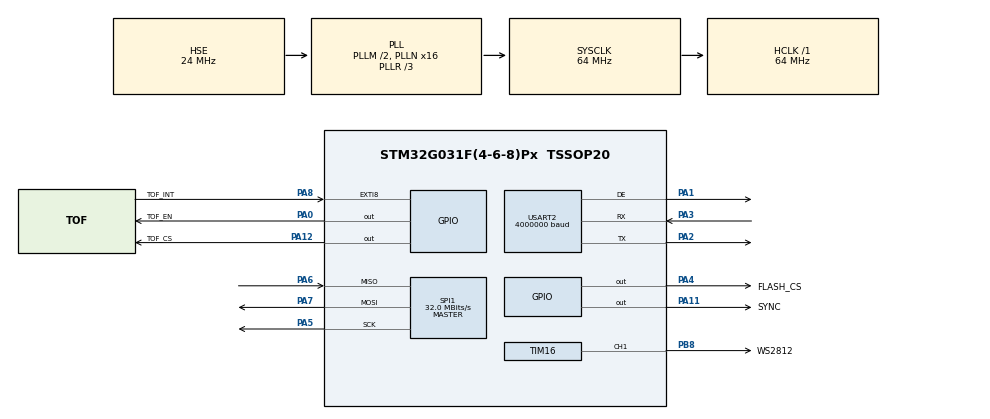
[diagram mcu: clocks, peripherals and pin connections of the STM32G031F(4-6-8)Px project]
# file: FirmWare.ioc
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CRC.CRCLength=CRC_POLYLENGTH_16B
CRC.DefaultInitValueUse=DEFAULT_INIT_VALUE_DISABLE
CRC.DefaultPolynomialUse=DEFAULT_POLYNOMIAL_DISABLE
CRC.GeneratingPolynomial=X12+X5+X0
Dma.Request0=USART2_RX
Dma.Request1=USART2_TX
Dma.Request2=TIM16_CH1
Dma.TIM16_CH1.2.Direction=DMA_MEMORY_TO_PERIPH
Dma.TIM16_CH1.2.EventEnable=DISABLE
Dma.TIM16_CH1.2.Instance=DMA1_Channel4
Dma.TIM16_CH1.2.MemDataAlignment=DMA_MDATAALIGN_HALFWORD
Dma.TIM16_CH1.2.MemInc=DMA_MINC_ENABLE
Dma.TIM16_CH1.2.Mode=DMA_NORMAL
Dma.TIM16_CH1.2.PeriphDataAlignment=DMA_PDATAALIGN_HALFWORD
Dma.TIM16_CH1.2.PeriphInc=DMA_PINC_DISABLE
Dma.TIM16_CH1.2.Polarity=HAL_DMAMUX_REQ_GEN_RISING
Dma.TIM16_CH1.2.Priority=DMA_PRIORITY_LOW
Dma.TIM16_CH1.2.RequestNumber=1
Dma.TIM16_CH1.2.SignalID=NONE
Dma.TIM16_CH1.2.SyncEnable=DISABLE
Dma.TIM16_CH1.2.SyncPolarity=HAL_DMAMUX_SYNC_NO_EVENT
Dma.TIM16_CH1.2.SyncRequestNumber=1
Dma.TIM16_CH1.2.SyncSignalID=NONE
Dma.USART2_RX.0.Direction=DMA_PERIPH_TO_MEMORY
Dma.USART2_RX.0.EventEnable=DISABLE
Dma.USART2_RX.0.Instance=DMA1_Channel1
Dma.USART2_RX.0.MemDataAlignment=DMA_MDATAALIGN_BYTE
Dma.USART2_RX.0.MemInc=DMA_MINC_ENABLE
Dma.USART2_RX.0.Mode=DMA_NORMAL
Dma.USART2_RX.0.PeriphDataAlignment=DMA_PDATAALIGN_BYTE
Dma.USART2_RX.0.PeriphInc=DMA_PINC_DISABLE
Dma.USART2_RX.0.Polarity=HAL_DMAMUX_REQ_GEN_RISING
Dma.USART2_RX.0.Priority=DMA_PRIORITY_LOW
Dma.USART2_RX.0.RequestNumber=1
Dma.USART2_RX.0.SignalID=NONE
Dma.USART2_RX.0.SyncEnable=DISABLE
Dma.USART2_RX.0.SyncPolarity=HAL_DMAMUX_SYNC_NO_EVENT
Dma.USART2_RX.0.SyncRequestNumber=1
Dma.USART2_RX.0.SyncSignalID=NONE
Dma.USART2_TX.1.Direction=DMA_MEMORY_TO_PERIPH
Dma.USART2_TX.1.EventEnable=DISABLE
Dma.USART2_TX.1.Instance=DMA1_Channel2
Dma.USART2_TX.1.MemDataAlignment=DMA_MDATAALIGN_BYTE
Dma.USART2_TX.1.MemInc=DMA_MINC_ENABLE
Dma.USART2_TX.1.Mode=DMA_NORMAL
Dma.USART2_TX.1.PeriphDataAlignment=DMA_PDATAALIGN_BYTE
Dma.USART2_TX.1.PeriphInc=DMA_PINC_DISABLE
Dma.USART2_TX.1.Polarity=HAL_DMAMUX_REQ_GEN_RISING
Dma.USART2_TX.1.Priority=DMA_PRIORITY_LOW
Dma.USART2_TX.1.RequestNumber=1
Dma.USART2_TX.1.SignalID=NONE
Dma.USART2_TX.1.SyncEnable=DISABLE
Dma.USART2_TX.1.SyncPolarity=HAL_DMAMUX_SYNC_NO_EVENT
Dma.USART2_TX.1.SyncRequestNumber=1
Dma.USART2_TX.1.SyncSignalID=NONE
Mcu.Family=STM32G0
Mcu.Name=STM32G031F(4-6-8)Px
Mcu.Package=TSSOP20
NVIC.DMA1_Ch4_5_DMAMUX1_OVR_IRQn=true\:0\:0\:false\:false\:true\:false\:true\:true
NVIC.DMA1_Channel1_IRQn=true\:1\:0\:true\:false\:true\:false\:true\:true
NVIC.DMA1_Channel2_3_IRQn=true\:0\:0\:false\:false\:true\:false\:true\:true
NVIC.EXTI4_15_IRQn=true\:0\:0\:false\:false\:true\:true\:true\:true
NVIC.TIM16_IRQn=true\:0\:0\:false\:false\:true\:true\:true\:true
NVIC.USART2_IRQn=true\:0\:0\:false\:false\:true\:true\:true\:true
PA0.GPIO_Label=TOF_EN
PA0.Signal=GPIO_Output
PA1.GPIO_Speed=GPIO_SPEED_FREQ_VERY_HIGH
PA1.Mode=Hardware Flow Control (RS485)
PA1.Signal=USART2_DE
PA11\ [PA9].GPIO_Label=SYNC
PA11\ [PA9].Signal=GPIO_Output
PA12\ [PA10].GPIO_Label=TOF_CS
PA12\ [PA10].Signal=GPIO_Output
PA13.Mode=Serial_Wire
PA13.Signal=SYS_SWDIO
PA14-BOOT0.Mode=Serial_Wire
PA14-BOOT0.Signal=SYS_SWCLK
PA14-BOOT0__PA15.StandardMode=true
PA2.GPIO_Speed=GPIO_SPEED_FREQ_VERY_HIGH
PA2.Mode=Asynchronous
PA2.Signal=USART2_TX
PA3.GPIO_Speed=GPIO_SPEED_FREQ_VERY_HIGH
PA3.Mode=Asynchronous
PA3.Signal=USART2_RX
PA4.GPIO_Label=FLASH_CS
PA4.Signal=GPIO_Output
PA5.GPIO_Speed=GPIO_SPEED_FREQ_VERY_HIGH
PA5.Mode=Full_Duplex_Master
PA5.Signal=SPI1_SCK
PA6.GPIO_Speed=GPIO_SPEED_FREQ_VERY_HIGH
PA6.Mode=Full_Duplex_Master
PA6.Signal=SPI1_MISO
PA7.GPIO_Speed=GPIO_SPEED_FREQ_VERY_HIGH
PA7.Mode=Full_Duplex_Master
PA7.Signal=SPI1_MOSI
PA8.GPIO_Label=TOF_INT
PA8.GPIO_ModeDefaultEXTI=GPIO_MODE_IT_FALLING
PA8.GPIO_PuPd=GPIO_PULLUP
PA8.Signal=GPXTI8
PB0__PB1__PB2__PA8.StandardMode=true
PB3__PB4__PB5__PB6.StandardMode=true
PB7__PB8.StandardMode=true
PB8.GPIO_Label=WS2812
PB8.Signal=S_TIM16_CH1
PC14-OSC32_IN\ (PC14).Mode=HSE-External-Clock-Source
PC14-OSC32_IN\ (PC14).Signal=RCC_OSC_IN
PC14-OSC32_IN\ (PC14)__PB9.StandardMode=true
ProjectManager.HeapSize=0x200
ProjectManager.StackSize=0x400
ProjectManager.TargetToolchain=STM32CubeIDE
RCC.ADCFreq_Value=64000000
RCC.AHBFreq_Value=64000000
RCC.CortexFreq_Value=64000000
RCC.EXTERNAL_CLOCK_VALUE=12288000
RCC.HCLKFreq_Value=64000000
RCC.HSE_VALUE=24000000
RCC.HSI_VALUE=16000000
RCC.LSE_VALUE=32768
RCC.PLLM=RCC_PLLM_DIV2
RCC.PLLN=16
RCC.PLLR=RCC_PLLR_DIV3
RCC.PLLSourceVirtual=RCC_PLLSOURCE_HSE
RCC.SYSCLKFreq_VALUE=64000000
RCC.SYSCLKSource=RCC_SYSCLKSOURCE_PLLCLK
RCC.VCOOutputFreq_Value=192000000
RCC.VDD_VALUE=3.3
SH.S_TIM16_CH1.0=TIM16_CH1,PWM Generation1 CH1
SPI1.CalculateBaudRate=32.0 MBits/s
SPI1.Direction=SPI_DIRECTION_2LINES
SPI1.Mode=SPI_MODE_MASTER
SPI1.VirtualType=VM_MASTER
TIM16.Channel=TIM_CHANNEL_1
TIM16.Period=80-1
TIM16.Prescaler=0
USART2.BaudRate=4000000
USART2.OverSampling=UART_OVERSAMPLING_16
USART2.VirtualMode-Asynchronous=VM_ASYNC
USART2.VirtualMode-Hardware\ Flow\ Control\ (RS485)=VM_ASYNC
VP_CRC_VS_CRC.Mode=CRC_Activate
VP_TIM16_VS_ClockSourceINT.Mode=Enable_Timer
board=custom

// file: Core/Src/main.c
/* USER CODE BEGIN Header */
/**
 ******************************************************************************
 * @file           : main.c
 * @brief          : Main program body
 ******************************************************************************
 * @attention
 *
 * Copyright (c) 2026 STMicroelectronics.
 * All rights reserved.
 *
 * This software is licensed under terms that can be found in the LICENSE file
 * in the root directory of this software component.
 * If no LICENSE file comes with this software, it is provided AS-IS.
 *
 ******************************************************************************
 */
/* USER CODE END Header */
#include "main.h"
#include "crc.h"
#include "dma.h"
#include "spi.h"
#include "tim.h"
#include "usart.h"
#include "gpio.h"

/* USER CODE BEGIN Includes */

#include "drivers/parser.h"
#include "drivers/sensor.h"
#include "drivers/shared_buf.h"
#include "drivers/w25qxx.h"
#include "drivers/ws2812.h"
#include "platform.h"
#include "vl53l8cx_api.h"
#include "wrappers/uart.h"
#include <stdint.h>

/* USER CODE END Includes */

/* USER CODE BEGIN PD */
#define DEVICE_ID 0
/* USER CODE END PD */

/* USER CODE BEGIN PV */
UART rs485;
W25Qxx w25qxx;
WS2812 led;

VL53L8CX_Configuration tof;
uint8_t isAlive, resolution, dataReady;
int32_t status;

Frame_Config_t savedConfig;
bool hasConfig; /* Flash 中是否有有效配置（供配置回滚使用） */
Sensor_Buffer_t sensorBuf;

static Pixel red = {
    .index = 0,
    .r = 255,
    .g = 0,
    .b = 0};

static Pixel green = {
    .index = 0,
    .r = 0,
    .g = 255,
    .b = 0};
/* USER CODE END PV */

void SystemClock_Config(void);

/* USER CODE BEGIN 0 */

static int32_t Tof_ApplyConfig(const Frame_Config_t *cfg)
{
    int32_t rtn;
    rtn = vl53l8cx_set_resolution(&tof,
                                  cfg->payload.bits.resolution ? VL53L8CX_RESOLUTION_8X8
                                                               : VL53L8CX_RESOLUTION_4X4);
    rtn |= vl53l8cx_set_ranging_frequency_hz(&tof,
                                             cfg->payload.bits.framerate == 0 ? 1 : cfg->payload.bits.framerate);
    rtn |= vl53l8cx_set_target_order(&tof,
                                     cfg->payload.bits.target_order ? VL53L8CX_TARGET_ORDER_CLOSEST
                                                                    : VL53L8CX_TARGET_ORDER_STRONGEST);
    rtn |= vl53l8cx_set_sharpener_percent(&tof, cfg->sharpener);

    return rtn;
}

/**
 * @brief 处理传感器 INT 数据就绪标志，阻塞读取一帧数据到缓冲
 */
static void ProcessSensorData(void)
{
    if (sensorBuf.data_ready)
    {
        sensorBuf.data_ready = false;
        SensorBuffer_Collect(&sensorBuf, &tof);
    }
}

/**
 * @brief 校验接收帧：magic、长度、ID，均匹配才返回 true
 */
static bool HandleFrameFilter(const uint8_t *data, uint16_t len,
                              uint8_t *id, Frame_Mode_t *mode)
{
    if (!Frame_Parse_Header(data, id, mode))
    {
        return false; /* magic 不匹配 */
    }
    if (!Frame_ValidateSize(len, *mode))
    {
        return false; /* 长度不匹配 */
    }
    if (*id != DEVICE_ID)
    {
        return false; /* id 不匹配 */
    }
    return true;
}

/**
 * @brief 回滚到上次保存的配置并重启 ranging（应用/重启失败时调用）
 */
static void RevertAndRestart(void)
{
    if (hasConfig)
    {
        Tof_ApplyConfig(&savedConfig);
    }
    vl53l8cx_start_ranging(&tof);
}

/**
 * @brief 处理配置帧（mode=0）：应用新配置，失败回滚，成功后持久化并回执 echo
 */
static void HandleConfigMode(const uint8_t *data)
{
    Frame_Config_t cfg;

    if (!Frame_Parse_Config(data, &cfg))
    {
        return; /* 配置解析失败，丢弃 */
    }

    /* 先停止测距，再应用新配置 */
    int32_t apply_status = vl53l8cx_stop_ranging(&tof);
    apply_status |= Tof_ApplyConfig(&cfg);
    if (apply_status != VL53L8CX_STATUS_OK)
    {
        /* 应用失败：回滚旧配置并重启 */
        RevertAndRestart();
        return;
    }

    /* 应用成功，重启 ranging 使新配置生效 */
    int32_t start_status = vl53l8cx_start_ranging(&tof);
    if (start_status != VL53L8CX_STATUS_OK)
    {
        /* 重启失败：回滚旧配置再试一次 */
        RevertAndRestart();
        return;
    }

    /* 更新本地保存的配置（供后续回滚使用） */
    savedConfig = cfg;
    hasConfig = true;

    /* 持久化 + 回读 echo（保存失败不回执，主机超时判定） */
    if (Config_SaveToFlash(&cfg, &w25qxx))
    {
        uint8_t echo[sizeof(Frame_Config_t)];
        uint32_t echoLen = Frame_Pack_Config(&cfg, echo, DEVICE_ID);
        UART_SendDMA(&rs485, echo, echoLen);
    }
}

/**
 * @brief 处理请求帧（mode=1）：打包最新一帧传感器数据回传
 */
static void HandleRequestMode(const uint8_t *data)
{
    Frame_Request_t req;

    if (!Frame_Parse_Request(data, &req))
    {
        return; /* 请求解析失败，丢弃 */
    }

    uint32_t txLen = SensorBuffer_PackResponse(&sensorBuf, g_shared.pack.raw, DEVICE_ID);
    if (txLen > 0)
    {
        UART_SendDMA(&rs485, g_shared.pack.raw, txLen);
    }
}

/**
 * @brief UART 帧主分发：校验帧头后按 mode 分派到各处理函数
 */
static void ProcessUartFrame(void)
{
    uint8_t *data;
    uint16_t len;
    uint8_t id;
    Frame_Mode_t mode;

    if (!UART_GetRxData(&rs485, &data, &len))
    {
        return; /* 无新数据 */
    }
    if (!HandleFrameFilter(data, len, &id, &mode))
    {
        return; /* magic/长度/ID 校验失败，丢弃 */
    }

    switch (mode)
    {
    case FRAME_MODE_CONFIG:
        HandleConfigMode(data);
        break;
    case FRAME_MODE_REQUEST:
        HandleRequestMode(data);
        break;
    default:
        break; /* 未知 mode，丢弃 */
    }
}
/* USER CODE END 0 */

int main(void)
{

  /* MCU Configuration--------------------------------------------------------*/

  /* Reset of all peripherals, Initializes the Flash interface and the Systick. */
  HAL_Init();

  /* Configure the system clock */
  SystemClock_Config();

  /* Initialize all configured peripherals */
  MX_GPIO_Init();
  MX_DMA_Init();
  MX_SPI1_Init();
  MX_USART2_UART_Init();
  MX_CRC_Init();
  MX_TIM16_Init();
  /* USER CODE BEGIN 2 */

    UART_Init(&rs485, &huart2);
    W25Qxx_Init(&w25qxx, &hspi1, FLASH_CS_GPIO_Port, FLASH_CS_Pin);
    SensorBuffer_Init(&sensorBuf);
    WS2812_Init(&led, &htim16);
    WS2812_SetPixel(&led, &red);
    WS2812_Show(&led);

    /* 从 W25Q Flash 加载持久化配置 */
    hasConfig = Config_LoadFromFlash(&savedConfig, &w25qxx);

    /* Flash 配置参数越界（旧固件/CRC 撞车写入）时回退默认值，避免上电即死 */
    if (hasConfig && !Config_Validate(&savedConfig))
    {
        hasConfig = false;
    }

    /* Register external firmware read callback */
    tof.platform.read_fw = VL53L8CX_FW_Read;
    /* Reset sensor */
    VL53L8CX_Reset_Sensor(&(tof.platform));
    /* Check if sensor is alive */
    status = vl53l8cx_is_alive(&tof, &isAlive);
    if (!isAlive || status)
    {
        Error_Handler();
    }

    /* Initialize sensor (loads FW from external flash via callback) */
    status = vl53l8cx_init(&tof);
    if (status != VL53L8CX_STATUS_OK)
    {
        Error_Handler();
    }

    /* 应用配置：Flash 有有效配置则用 Flash，否则用默认值 */
    if (hasConfig)
    {
        status = Tof_ApplyConfig(&savedConfig);
    }
    else
    {
        Frame_Config_t defaults = {
            .payload.raw = 0,
            .sharpener = 10,
        };
        defaults.payload.bits.framerate = 60;
        status = Tof_ApplyConfig(&defaults);
    }

    status |= vl53l8cx_set_ranging_mode(&tof,
                                        VL53L8CX_RANGING_MODE_CONTINUOUS);

    if (status == VL53L8CX_STATUS_OK)
    {
        status = vl53l8cx_start_ranging(&tof);
    }
    else
    {
        Error_Handler();
    }

    WS2812_SetPixel(&led, &green);
    WS2812_Show(&led);

  /* USER CODE END 2 */

  /* Infinite loop */
  /* USER CODE BEGIN WHILE */
    while (1)
    {
        __WFI();

        /* 传感器 INT 触发 → 主循环完成 SPI 读取 */
        ProcessSensorData();

        /* UART 帧接收 → 校验并分发处理 */
        ProcessUartFrame();

    /* USER CODE END WHILE */

    }
}

void SystemClock_Config(void)
{
  RCC_OscInitTypeDef RCC_OscInitStruct = {0};
  RCC_ClkInitTypeDef RCC_ClkInitStruct = {0};

  /** Configure the main internal regulator output voltage
  */
  HAL_PWREx_ControlVoltageScaling(PWR_REGULATOR_VOLTAGE_SCALE1);

  /** Initializes the RCC Oscillators according to the specified parameters
  * in the RCC_OscInitTypeDef structure.
  */
  RCC_OscInitStruct.OscillatorType = RCC_OSCILLATORTYPE_HSE;
  RCC_OscInitStruct.HSEState = RCC_HSE_BYPASS;
  RCC_OscInitStruct.PLL.PLLState = RCC_PLL_ON;
  RCC_OscInitStruct.PLL.PLLSource = RCC_PLLSOURCE_HSE;
  RCC_OscInitStruct.PLL.PLLM = RCC_PLLM_DIV2;
  RCC_OscInitStruct.PLL.PLLN = 16;
  RCC_OscInitStruct.PLL.PLLP = RCC_PLLP_DIV2;
  RCC_OscInitStruct.PLL.PLLQ = RCC_PLLQ_DIV2;
  RCC_OscInitStruct.PLL.PLLR = RCC_PLLR_DIV3;
  if (HAL_RCC_OscConfig(&RCC_OscInitStruct) != HAL_OK)
  {
    Error_Handler();
  }

  /** Initializes the CPU, AHB and APB buses clocks
  */
  RCC_ClkInitStruct.ClockType = RCC_CLOCKTYPE_HCLK|RCC_CLOCKTYPE_SYSCLK
                              |RCC_CLOCKTYPE_PCLK1;
  RCC_ClkInitStruct.SYSCLKSource = RCC_SYSCLKSOURCE_PLLCLK;
  RCC_ClkInitStruct.AHBCLKDivider = RCC_SYSCLK_DIV1;
  RCC_ClkInitStruct.APB1CLKDivider = RCC_HCLK_DIV1;

  if (HAL_RCC_ClockConfig(&RCC_ClkInitStruct, FLASH_LATENCY_2) != HAL_OK)
  {
    Error_Handler();
  }
}

void Error_Handler(void)
{
  /* USER CODE BEGIN Error_Handler_Debug */
    /* 红灯指示错误状态；WS2812 初始化完成前 led.htim==NULL，跳过亮灯 */
    if (led.htim != NULL)
    {
        WS2812_SetPixel(&led, &red);
        WS2812_Show(&led);
    }
    __disable_irq();
    while (1)
    {
    }
  /* USER CODE END Error_Handler_Debug */
}
